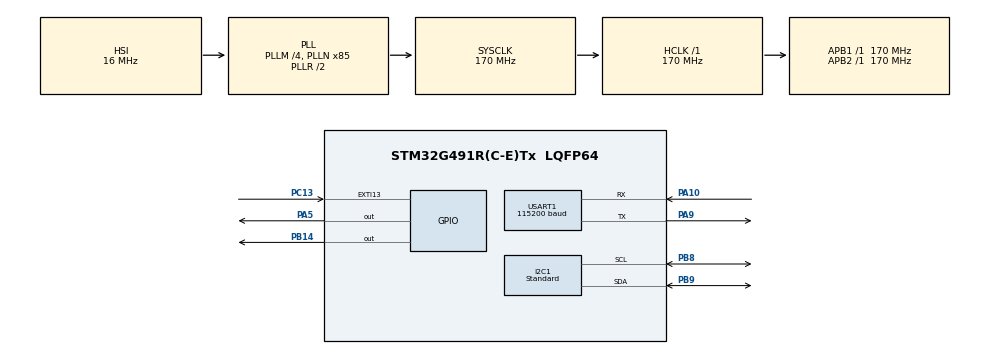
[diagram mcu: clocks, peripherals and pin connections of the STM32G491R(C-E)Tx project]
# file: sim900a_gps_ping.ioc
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I2C1.I2C_Speed_Mode=I2C_Standard
I2C1.Timing=0x40B285C2
Mcu.Family=STM32G4
Mcu.Name=STM32G491R(C-E)Tx
Mcu.Package=LQFP64
NUCLEO-G491RE.BUTTON=1
NUCLEO-G491RE.LD2=true
NUCLEO-G491RE.VCP=true
NVIC.EXTI15_10_IRQn=true\:0\:0\:false\:false\:true\:true\:true\:true
NVIC.PriorityGroup=NVIC_PRIORITYGROUP_4
NVIC.USART1_IRQn=true\:0\:0\:false\:false\:true\:true\:true\:true
PA10.Mode=Asynchronous
PA10.Signal=USART1_RX
PA13.GPIO_Label=T_SWDIO
PA13.Mode=Serial_Wire
PA13.Signal=SYS_JTMS-SWDIO
PA14.GPIO_Label=T_SWCLK
PA14.Mode=Serial_Wire
PA14.Signal=SYS_JTCK-SWCLK
PA2.Signal=LPUART1_TX
PA3.Signal=LPUART1_RX
PA5.Signal=GPIO_Output
PA9.Mode=Asynchronous
PA9.Signal=USART1_TX
PB14.Signal=GPIO_Output
PB3.GPIO_Label=T_SWO
PB3.Signal=SYS_JTDO-SWO
PB8-BOOT0.Mode=I2C
PB8-BOOT0.Signal=I2C1_SCL
PB9.Mode=I2C
PB9.Signal=I2C1_SDA
PC13.Signal=GPXTI13
PC14-OSC32_IN.GPIO_Label=RCC_OSC32_IN
PC14-OSC32_IN.Signal=RCC_OSC32_IN
PC15-OSC32_OUT.GPIO_Label=RCC_OSC32_OUT
PC15-OSC32_OUT.Signal=RCC_OSC32_OUT
PF0-OSC_IN.GPIO_Label=RCC_OSC_IN
PF0-OSC_IN.Signal=RCC_OSC_IN
PF1-OSC_OUT.GPIO_Label=RCC_OSC_OUT
PF1-OSC_OUT.Signal=RCC_OSC_OUT
ProjectManager.HeapSize=0x200
ProjectManager.StackSize=0x400
ProjectManager.TargetToolchain=STM32CubeIDE
RCC.ADC12Freq_Value=170000000
RCC.ADC345Freq_Value=170000000
RCC.AHBFreq_Value=170000000
RCC.APB1Freq_Value=170000000
RCC.APB1TimFreq_Value=170000000
RCC.APB2Freq_Value=170000000
RCC.APB2TimFreq_Value=170000000
RCC.CortexFreq_Value=170000000
RCC.EXTERNAL_CLOCK_VALUE=12288000
RCC.HCLKFreq_Value=170000000
RCC.HSE_VALUE=24000000
RCC.HSI48_VALUE=48000000
RCC.HSI_VALUE=16000000
RCC.LSE_VALUE=32768
RCC.PLLM=RCC_PLLM_DIV4
RCC.PLLN=85
RCC.RTCClockSelection=RCC_RTCCLKSOURCE_LSE
RCC.SYSCLKFreq_VALUE=170000000
RCC.SYSCLKSource=RCC_SYSCLKSOURCE_PLLCLK
RCC.USBFreq_Value=48000000
RCC.VCOOutputFreq_Value=340000000
USART1.BaudRate=115200
USART1.VirtualMode-Asynchronous=VM_ASYNC
VP_NUCLEO-G491RE_VS_BSP_COMMON.Mode=COMMON
VP_SYS_VS_DBSignals.Mode=DisableDeadBatterySignals
board=NUCLEO-G491RE

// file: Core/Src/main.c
/* USER CODE BEGIN Header */
/**
  ******************************************************************************
  * @file           : main.c
  * @brief          : STM32G491RE + SIM900A Fast Telemetry System
  * @note           : Optimized for fast boot and stable webhook POSTing
  ******************************************************************************
  */
/* USER CODE END Header */
#include "main.h"
#include <string.h>
#include <stdio.h>

#define RX_BUF_SIZE 512
#define SSD1306_I2C_ADDR 0x78

I2C_HandleTypeDef hi2c1;
UART_HandleTypeDef huart1;

uint8_t rx_buffer[RX_BUF_SIZE];
volatile uint16_t rx_index = 0;
uint8_t rx_byte;

/* Complete 5x7 Font Matrix */
const uint8_t Font5x7[][5] = {
    {0x00, 0x00, 0x00, 0x00, 0x00}, {0x00, 0x00, 0x5F, 0x00, 0x00}, {0x00, 0x07, 0x00, 0x07, 0x00}, {0x14, 0x7F, 0x14, 0x7F, 0x14},
    {0x24, 0x2A, 0x7F, 0x2A, 0x12}, {0x23, 0x13, 0x08, 0x64, 0x62}, {0x36, 0x49, 0x55, 0x22, 0x50}, {0x00, 0x05, 0x03, 0x00, 0x00},
    {0x00, 0x1C, 0x22, 0x41, 0x00}, {0x00, 0x41, 0x22, 0x1C, 0x00}, {0x14, 0x08, 0x3E, 0x08, 0x14}, {0x08, 0x08, 0x3E, 0x08, 0x08},
    {0x00, 0x50, 0x30, 0x00, 0x00}, {0x08, 0x08, 0x08, 0x08, 0x08}, {0x00, 0x60, 0x60, 0x00, 0x00}, {0x20, 0x10, 0x08, 0x04, 0x02},
    {0x3E, 0x51, 0x49, 0x45, 0x3E}, {0x00, 0x42, 0x7F, 0x40, 0x00}, {0x42, 0x61, 0x51, 0x49, 0x46}, {0x21, 0x41, 0x45, 0x4B, 0x31},
    {0x18, 0x14, 0x12, 0x7F, 0x10}, {0x27, 0x45, 0x45, 0x45, 0x39}, {0x3C, 0x4A, 0x49, 0x49, 0x30}, {0x01, 0x71, 0x09, 0x05, 0x03},
    {0x36, 0x49, 0x49, 0x49, 0x36}, {0x06, 0x49, 0x49, 0x29, 0x1E}, {0x00, 0x36, 0x36, 0x00, 0x00}, {0x00, 0x56, 0x36, 0x00, 0x00},
    {0x08, 0x14, 0x22, 0x41, 0x00}, {0x24, 0x24, 0x24, 0x24, 0x24}, {0x00, 0x41, 0x22, 0x14, 0x08}, {0x02, 0x01, 0x51, 0x09, 0x06},
    {0x32, 0x49, 0x79, 0x41, 0x3E}, {0x7C, 0x12, 0x11, 0x12, 0x7C}, {0x7F, 0x49, 0x49, 0x49, 0x36}, {0x3E, 0x41, 0x41, 0x41, 0x22},
    {0x7F, 0x41, 0x41, 0x22, 0x1C}, {0x7F, 0x49, 0x49, 0x49, 0x41}, {0x7F, 0x09, 0x09, 0x09, 0x01}, {0x3E, 0x41, 0x49, 0x49, 0x7A},
    {0x7F, 0x08, 0x08, 0x08, 0x7F}, {0x00, 0x41, 0x7F, 0x41, 0x00}, {0x20, 0x40, 0x41, 0x3F, 0x01}, {0x7F, 0x08, 0x14, 0x22, 0x41},
    {0x7F, 0x40, 0x40, 0x40, 0x40}, {0x7F, 0x02, 0x0C, 0x02, 0x7F}, {0x7F, 0x04, 0x08, 0x10, 0x7F}, {0x3E, 0x41, 0x41, 0x41, 0x3E},
    {0x7F, 0x09, 0x09, 0x09, 0x06}, {0x3E, 0x41, 0x51, 0x21, 0x5E}, {0x7F, 0x09, 0x19, 0x29, 0x46}, {0x46, 0x49, 0x49, 0x49, 0x31},
    {0x01, 0x01, 0x7F, 0x01, 0x01}, {0x3F, 0x40, 0x40, 0x40, 0x3F}, {0x1F, 0x20, 0x40, 0x20, 0x1F}, {0x3F, 0x40, 0x38, 0x40, 0x3F},
    {0x63, 0x14, 0x08, 0x14, 0x63}, {0x07, 0x08, 0x70, 0x08, 0x07}, {0x61, 0x51, 0x49, 0x45, 0x43}
};

void SystemClock_Config(void);
static void MX_GPIO_Init(void);
static void MX_I2C1_Init(void);
static void MX_USART1_UART_Init(void);

void OLED_WriteCmd(uint8_t cmd);
void OLED_Init(void);
void OLED_Clear(void);
void OLED_PrintString(const char* str, uint8_t page, uint8_t col);
void Flush_Buffer(void);
HAL_StatusTypeDef Send_AT_Command(const char* cmd, const char* expected_resp, uint32_t timeout);
uint8_t Wait_For_Network(void);
void Init_GPRS(void);

/* USER CODE BEGIN 0 */
void OLED_WriteCmd(uint8_t cmd) {
    HAL_I2C_Mem_Write(&hi2c1, SSD1306_I2C_ADDR, 0x00, 1, &cmd, 1, 20);
}

void OLED_Init(void) {
    HAL_Delay(150);
    OLED_WriteCmd(0xAE); OLED_WriteCmd(0x20); OLED_WriteCmd(0x10);
    OLED_WriteCmd(0xB0); OLED_WriteCmd(0x00); OLED_WriteCmd(0x10);
    OLED_WriteCmd(0xC8); OLED_WriteCmd(0xA1); OLED_WriteCmd(0x8D);
    OLED_WriteCmd(0x14); OLED_WriteCmd(0xAF);
    HAL_Delay(100);
}

void OLED_Clear(void) {
    uint8_t blank_buffer[128] = {0};
    for (uint8_t i = 0; i < 8; i++) {
        OLED_WriteCmd(0xB0 + i);
        OLED_WriteCmd(0x00);
        OLED_WriteCmd(0x10);
        HAL_I2C_Mem_Write(&hi2c1, SSD1306_I2C_ADDR, 0x40, 1, blank_buffer, 128, 50);
    }
}

void OLED_PrintString(const char* str, uint8_t page, uint8_t col) {
    while (*str) {
        char c = *str++;
        if (c < 32 || c > 90) {
            if (c >= 'a' && c <= 'z') c -= 32; else c = ' ';
        }
        uint8_t font_idx = c - 32;
        OLED_WriteCmd(0xB0 + page);
        OLED_WriteCmd(col & 0x0F);
        OLED_WriteCmd(0x10 | ((col >> 4) & 0x0F));
        HAL_I2C_Mem_Write(&hi2c1, SSD1306_I2C_ADDR, 0x40, 1, (uint8_t*)Font5x7[font_idx], 5, 20);
        col += 6;
        if (col > 122) break;
    }
}

void Flush_Buffer(void) {
    __disable_irq(); // Prevent race conditions
    memset((void*)rx_buffer, 0, RX_BUF_SIZE);
    rx_index = 0;
    __enable_irq();
}

HAL_StatusTypeDef Send_AT_Command(const char* cmd, const char* expected_resp, uint32_t timeout) {
    Flush_Buffer();
    HAL_UART_Transmit(&huart1, (uint8_t*)cmd, strlen(cmd), 500);

    uint32_t tickstart = HAL_GetTick();
    while ((HAL_GetTick() - tickstart) < timeout) {
        if (strstr((char*)rx_buffer, expected_resp) != NULL) {
            HAL_GPIO_WritePin(GPIOA, GPIO_PIN_5, GPIO_PIN_SET);
            HAL_Delay(30);
            HAL_GPIO_WritePin(GPIOA, GPIO_PIN_5, GPIO_PIN_RESET);
            return HAL_OK;
        }
    }
    return HAL_ERROR;
}

uint8_t Wait_For_Network(void) {
    OLED_Clear();
    OLED_PrintString("SEARCHING NET...", 0, 0);

    // Poll CREG every 1.5 seconds until registered (Home network = 1, Roaming = 5)
    uint32_t start_time = HAL_GetTick();
    while((HAL_GetTick() - start_time) < 45000) {
        if (Send_AT_Command("AT+CREG?\r\n", "+CREG: 0,1", 1000) == HAL_OK ||
            Send_AT_Command("AT+CREG?\r\n", "+CREG: 0,5", 1000) == HAL_OK) {
            OLED_PrintString("NETWORK OK!     ", 2, 0);
            return 1;
        }
        HAL_Delay(1000);
    }
    OLED_PrintString("NET TIMEOUT!    ", 2, 0);
    return 0;
}

void Init_GPRS(void) {
    OLED_PrintString("CONFIG GPRS...  ", 4, 0);
    Send_AT_Command("AT+SAPBR=3,1,\"CONTYPE\",\"GPRS\"\r\n", "OK", 1000);
    Send_AT_Command("AT+SAPBR=3,1,\"APN\",\"airtelgprs.com\"\r\n", "OK", 1000);

    // Only open the bearer if it isn't already open
    if (Send_AT_Command("AT+SAPBR=2,1\r\n", "+SAPBR: 1,1", 1000) != HAL_OK) {
        OLED_PrintString("OPENING BEARER..", 6, 0);
        Send_AT_Command("AT+SAPBR=1,1\r\n", "OK", 5000);
    }
    HAL_Delay(1000);
}
/* USER CODE END 0 */

int main(void)
{
  char dev_status[16] = "IDLE";
  char signal_strength[6] = "0";
  char lat_str[16] = "0.0000";
  char lon_str[16] = "0.0000";
  char current_time[12] = "00:00:00";
  char current_date[16] = "01-01-2026";
  char screen_buf[24];
  char http_payload[350];
  char cmd_buffer[128];

  HAL_Init();
  SystemClock_Config();
  MX_GPIO_Init();
  MX_I2C1_Init();
  MX_USART1_UART_Init();

  OLED_Init();

  // Give the module hardware time to stabilize
  HAL_Delay(1000);

  HAL_UART_Receive_IT(&huart1, &rx_byte, 1);

  // Sync baud rate and disable echo
  Send_AT_Command("AT\r\n", "OK", 500);
  Send_AT_Command("ATE0\r\n", "OK", 500);

  /* CRITICAL STEP: Wait for network BEFORE doing anything else */
  if (Wait_For_Network()) {
      Init_GPRS();
  }

  OLED_Clear();

    while (1)
    {
        /* 1. Network & Signal Check */
        if (Send_AT_Command("AT+CREG?\r\n", "OK", 1000) == HAL_OK) {
            if (strstr((char*)rx_buffer, ",1") || strstr((char*)rx_buffer, ",5")) strcpy(dev_status, "CONNECTED");
            else strcpy(dev_status, "SEARCHING");
        }

        if (Send_AT_Command("AT+CSQ\r\n", "OK", 1000) == HAL_OK) {
            char *csq_ptr = strstr((char*)rx_buffer, "+CSQ:");
            if (csq_ptr != NULL) {
                int rssi = 0;
                sscanf(csq_ptr, "+CSQ: %d", &rssi);
                sprintf(signal_strength, "%d", rssi);
            }
        }

        /* 2. Check IP Address status & Recover if needed */
        if (Send_AT_Command("AT+SAPBR=2,1\r\n", "+SAPBR: 1,1", 1000) != HAL_OK) {
             // Lightweight recovery. Don't tear down CGATT.
             Send_AT_Command("AT+SAPBR=0,1\r\n", "OK", 1000);
             Send_AT_Command("AT+SAPBR=1,1\r\n", "OK", 4000);
        }

        /* 3. Fetch LBS Location */
        Flush_Buffer();
        HAL_UART_Transmit(&huart1, (uint8_t*)"AT+CIPGSMLOC=1,1\r\n", 18, 100);
        uint32_t tick = HAL_GetTick();
        uint8_t loc_success = 0;

        while ((HAL_GetTick() - tick) < 5000) {
            if (strstr((char*)rx_buffer, "+CIPGSMLOC:") != NULL && strstr((char*)rx_buffer, "OK") != NULL) {
                loc_success = 1;
                break;
            }
        }

        if (loc_success) {
            char *loc_ptr = strstr((char*)rx_buffer, "+CIPGSMLOC:");
            int res_code = -1;
            if (loc_ptr != NULL) {
                char temp_date[12] = {0};
                if (sscanf(loc_ptr, "+CIPGSMLOC: %d,%15[^,],%15[^,],%11[^,],%11[^\r\n]",
                           &res_code, lon_str, lat_str, temp_date, current_time) >= 5) {
                    if (res_code == 0) {
                        int yyyy, mm, dd;
                        if (sscanf(temp_date, "%d/%d/%d", &yyyy, &mm, &dd) == 3) {
                            sprintf(current_date, "%02d-%02d-%04d", dd, mm, yyyy);
                        }
                    }
                }
            }
        }

        /* 4. Update Time from network */
        if (Send_AT_Command("AT+CCLK?\r\n", "OK", 1000) == HAL_OK) {
            char *cclk_ptr = strstr((char*)rx_buffer, "+CCLK:");
            if (cclk_ptr != NULL) {
                int yy, mm, dd;
                char temp_time[12] = {0};
                if (sscanf(cclk_ptr, "+CCLK: \"%d/%d/%d,%8[^+]\"", &yy, &mm, &dd, temp_time) == 4) {
                    sprintf(current_date, "%02d-%02d-20%02d", dd, mm, yy);
                    strcpy(current_time, temp_time);
                }
            }
        }

        /* 5. UI Update */
        OLED_Clear();
        sprintf(screen_buf, "STATUS: %s", dev_status);
        OLED_PrintString(screen_buf, 0, 0);
        sprintf(screen_buf, "RSSI:   %s", signal_strength);
        OLED_PrintString(screen_buf, 2, 0);
        sprintf(screen_buf, "LAT:    %s", lat_str);
        OLED_PrintString(screen_buf, 4, 0);
        sprintf(screen_buf, "LON:    %s", lon_str);
        OLED_PrintString(screen_buf, 5, 0);
        sprintf(screen_buf, "DATE:   %s", current_date);
        OLED_PrintString(screen_buf, 6, 0);
        sprintf(screen_buf, "TIME:   %s", current_time);
        OLED_PrintString(screen_buf, 7, 0);

        /* 6. Robust HTTP POST */
        Send_AT_Command("AT+HTTPTERM\r\n", "OK", 500); // Always terminate previous hanging sessions

        if (Send_AT_Command("AT+HTTPINIT\r\n", "OK", 2000) == HAL_OK) {

            Send_AT_Command("AT+HTTPPARA=\"CID\",1\r\n", "OK", 1000);
            Send_AT_Command("AT+HTTPPARA=\"URL\",\"http://webhook.site/53020a65-7237-442e-9d17-a387ab8e596e\"\r\n", "OK", 1000);
            Send_AT_Command("AT+HTTPPARA=\"CONTENT\",\"application/json\"\r\n", "OK", 1000);

            sprintf(http_payload,
                    "{\"device_status\":\"%s\",\"signal_strength\":%s,\"gps_position_coordinates\":{\"latitude\":\"%s\",\"longitude\":\"%s\"},\"date\":\"%s\",\"time\":\"%s\"}",
                    dev_status, signal_strength, lat_str, lon_str, current_date, current_time);

            sprintf(cmd_buffer, "AT+HTTPDATA=%d,5000\r\n", (int)strlen(http_payload));

            if (Send_AT_Command(cmd_buffer, "DOWNLOAD", 2000) == HAL_OK) {

                // Write payload
                if (Send_AT_Command(http_payload, "OK", 5000) == HAL_OK) {

                    // Execute POST (1 = POST)
                    if(Send_AT_Command("AT+HTTPACTION=1\r\n", "+HTTPACTION: 1", 10000) == HAL_OK) {
                        char *action_ptr = strstr((char*)rx_buffer, "+HTTPACTION: 1,");
                        if (action_ptr != NULL) {
                            int http_code = 0;
                            sscanf(action_ptr, "+HTTPACTION: 1,%d", &http_code);

                            // Visual feedback if 200 OK was received
                            if (http_code >= 200 && http_code < 300) {
                                OLED_PrintString(" * ", 0, 110);
                            }
                        }
                    }
                }
            }
            Send_AT_Command("AT+HTTPTERM\r\n", "OK", 1000);
        }

        /* 7. Interval Rest */
        HAL_Delay(12000);
    }
}

/** HAL Clock Configurations remain completely untouched below **/

void SystemClock_Config(void)
{
  RCC_OscInitTypeDef RCC_OscInitStruct = {0};
  RCC_ClkInitTypeDef RCC_ClkInitStruct = {0};

  HAL_PWREx_ControlVoltageScaling(PWR_REGULATOR_VOLTAGE_SCALE1_BOOST);

  RCC_OscInitStruct.OscillatorType = RCC_OSCILLATORTYPE_HSI;
  RCC_OscInitStruct.HSIState = RCC_HSI_ON;
  RCC_OscInitStruct.HSICalibrationValue = RCC_HSICALIBRATION_DEFAULT;
  RCC_OscInitStruct.PLL.PLLState = RCC_PLL_ON;
  RCC_OscInitStruct.PLL.PLLSource = RCC_PLLSOURCE_HSI;
  RCC_OscInitStruct.PLL.PLLM = RCC_PLLM_DIV4;
  RCC_OscInitStruct.PLL.PLLN = 85;
  RCC_OscInitStruct.PLL.PLLP = RCC_PLLP_DIV2;
  RCC_OscInitStruct.PLL.PLLQ = RCC_PLLQ_DIV2;
  RCC_OscInitStruct.PLL.PLLR = RCC_PLLR_DIV2;
  if (HAL_RCC_OscConfig(&RCC_OscInitStruct) != HAL_OK)
  {
    Error_Handler();
  }

  RCC_ClkInitStruct.ClockType = RCC_CLOCKTYPE_HCLK|RCC_CLOCKTYPE_SYSCLK
                              |RCC_CLOCKTYPE_PCLK1|RCC_CLOCKTYPE_PCLK2;
  RCC_ClkInitStruct.SYSCLKSource = RCC_SYSCLKSOURCE_PLLCLK;
  RCC_ClkInitStruct.AHBCLKDivider = RCC_SYSCLK_DIV1;
  RCC_ClkInitStruct.APB1CLKDivider = RCC_HCLK_DIV1;
  RCC_ClkInitStruct.APB2CLKDivider = RCC_HCLK_DIV1;

  if (HAL_RCC_ClockConfig(&RCC_ClkInitStruct, FLASH_LATENCY_4) != HAL_OK)
  {
    Error_Handler();
  }
}

static void MX_I2C1_Init(void)
{
  hi2c1.Instance = I2C1;
  hi2c1.Init.Timing = 0x40B285C2;
  hi2c1.Init.OwnAddress1 = 0;
  hi2c1.Init.AddressingMode = I2C_ADDRESSINGMODE_7BIT;
  hi2c1.Init.DualAddressMode = I2C_DUALADDRESS_DISABLE;
  hi2c1.Init.OwnAddress2 = 0;
  hi2c1.Init.OwnAddress2Masks = I2C_OA2_NOMASK;
  hi2c1.Init.GeneralCallMode = I2C_GENERALCALL_DISABLE;
  hi2c1.Init.NoStretchMode = I2C_NOSTRETCH_DISABLE;
  if (HAL_I2C_Init(&hi2c1) != HAL_OK)
  {
    Error_Handler();
  }
  if (HAL_I2CEx_ConfigAnalogFilter(&hi2c1, I2C_ANALOGFILTER_ENABLE) != HAL_OK)
  {
    Error_Handler();
  }
  if (HAL_I2CEx_ConfigDigitalFilter(&hi2c1, 0) != HAL_OK)
  {
    Error_Handler();
  }
}

static void MX_USART1_UART_Init(void)
{
  huart1.Instance = USART1;
  huart1.Init.BaudRate = 115200;
  huart1.Init.WordLength = UART_WORDLENGTH_8B;
  huart1.Init.StopBits = UART_STOPBITS_1;
  huart1.Init.Parity = UART_PARITY_NONE;
  huart1.Init.Mode = UART_MODE_TX_RX;
  huart1.Init.HwFlowCtl = UART_HWCONTROL_NONE;
  huart1.Init.OverSampling = UART_OVERSAMPLING_16;
  huart1.Init.OneBitSampling = UART_ONE_BIT_SAMPLE_DISABLE;
  huart1.Init.ClockPrescaler = UART_PRESCALER_DIV1;
  huart1.AdvancedInit.AdvFeatureInit = UART_ADVFEATURE_NO_INIT;
  if (HAL_UART_Init(&huart1) != HAL_OK)
  {
    Error_Handler();
  }
  if (HAL_UARTEx_SetTxFifoThreshold(&huart1, UART_TXFIFO_THRESHOLD_1_8) != HAL_OK)
  {
    Error_Handler();
  }
  if (HAL_UARTEx_SetRxFifoThreshold(&huart1, UART_RXFIFO_THRESHOLD_1_8) != HAL_OK)
  {
    Error_Handler();
  }
  if (HAL_UARTEx_DisableFifoMode(&huart1) != HAL_OK)
  {
    Error_Handler();
  }
}

static void MX_GPIO_Init(void)
{
  GPIO_InitTypeDef GPIO_InitStruct = {0};

  __HAL_RCC_GPIOC_CLK_ENABLE();
  __HAL_RCC_GPIOF_CLK_ENABLE();
  __HAL_RCC_GPIOB_CLK_ENABLE();
  __HAL_RCC_GPIOA_CLK_ENABLE();

  HAL_GPIO_WritePin(GPIOB, GPIO_PIN_14, GPIO_PIN_RESET);
  HAL_GPIO_WritePin(GPIOA, GPIO_PIN_5, GPIO_PIN_RESET);

  GPIO_InitStruct.Pin = GPIO_PIN_14;
  GPIO_InitStruct.Mode = GPIO_MODE_OUTPUT_PP;
  GPIO_InitStruct.Pull = GPIO_NOPULL;
  GPIO_InitStruct.Speed = GPIO_SPEED_FREQ_LOW;
  HAL_GPIO_Init(GPIOB, &GPIO_InitStruct);

  GPIO_InitStruct.Pin = GPIO_PIN_5;
  GPIO_InitStruct.Mode = GPIO_MODE_OUTPUT_PP;
  GPIO_InitStruct.Pull = GPIO_NOPULL;
  GPIO_InitStruct.Speed = GPIO_SPEED_FREQ_LOW;
  HAL_GPIO_Init(GPIOA, &GPIO_InitStruct);
}

void HAL_UART_RxCpltCallback(UART_HandleTypeDef *huart) {
    if (huart->Instance == USART1) {
        if (rx_index < RX_BUF_SIZE - 1) {
            rx_buffer[rx_index++] = rx_byte;
            rx_buffer[rx_index] = '\0';
        }
        HAL_UART_Receive_IT(&huart1, &rx_byte, 1);
    }
}

void Error_Handler(void)
{
  __disable_irq();
  while (1)
  {
  }
}
